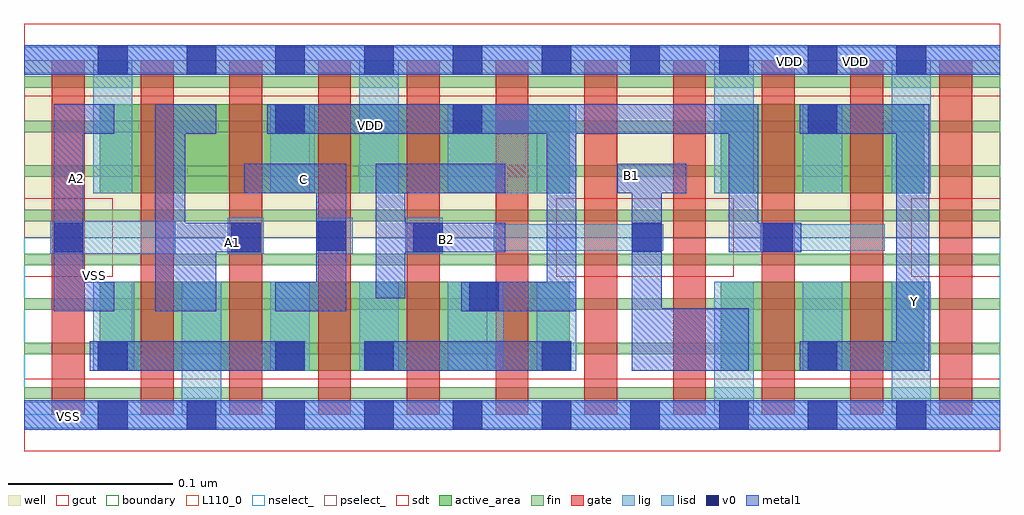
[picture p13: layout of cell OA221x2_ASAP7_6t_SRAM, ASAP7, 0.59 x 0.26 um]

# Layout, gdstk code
import gdstk
lib = gdstk.Library(unit=1e-6, precision=2.5e-10)
def R(c, l, rs):  # rectangles x0, y0, x1, y1
    for r in rs: c.add(gdstk.rectangle(r[:2], r[2:], *l))
def A(c, l, x, y, w, h, nx, ny, dx, dy):  # array of equal rectangles
    R(c, l, [(x+i*dx, y+j*dy, x+i*dx+w, y+j*dy+h) for i in range(nx) for j in range(ny)])
def P(c, l, *ps):  # polygons
    for p in ps: c.add(gdstk.Polygon(p, *l))
well = (1, 0)
fin = (2, 0)
gate = (7, 0)
gcut = (10, 0)
active_area = (11, 0)
nselect_ = (12, 0)
pselect_ = (13, 0)
lig = (16, 0)
lisd = (17, 0)
v0 = (18, 0)
metal1 = (19, 0)
sdt = (88, 0)
boundary = (100, 0)
L110_0 = (110, 0)

oa221x2_asap7_6t_sram = lib.new_cell('OA221x2_ASAP7_6t_SRAM')
R(oa221x2_asap7_6t_sram, well, [(0,0.108,0.594,0.216)])
A(oa221x2_asap7_6t_sram, fin, 0, 0.01, 0.594, 0.007, 1, 8, 0, 0.027)
A(oa221x2_asap7_6t_sram, gate, 0.017, 0, 0.02, 0.216, 11, 1, 0.054, 0)
R(oa221x2_asap7_6t_sram, gcut, [(0,-0.022,0.594,0.022), (0,0.084,0.054,0.132), (0.324,0.084,0.432,0.132), (0.54,0.084,0.594,0.132), (0,0.194,0.594,0.238)])
R(oa221x2_asap7_6t_sram, active_area, [(0.046,0.027,0.332,0.081), (0.424,0.027,0.548,0.081), (0.046,0.135,0.332,0.189), (0.424,0.135,0.548,0.189)])
R(oa221x2_asap7_6t_sram, nselect_, [(0,0,0.594,0.108)])
R(oa221x2_asap7_6t_sram, pselect_, [(0,0.108,0.594,0.216)])
R(oa221x2_asap7_6t_sram, lig, [(0,-0.008,0.594,0.008), (0.016,0.098,0.092,0.118), (0.124,0.098,0.146,0.12), (0.178,0.098,0.2,0.12), (0.232,0.098,0.255,0.12), (0.286,0.1,0.389,0.116), (0.448,0.1,0.524,0.116), (0,0.208,0.594,0.224)])
R(oa221x2_asap7_6t_sram, lisd, [(0.096,0,0.12,0.081), (0.42,0,0.444,0.081), (0.528,0,0.552,0.081), (0.042,0.027,0.067,0.081), (0.15,0.027,0.174,0.081), (0.204,0.027,0.228,0.081), (0.258,0.027,0.292,0.081), (0.312,0.027,0.336,0.081), (0.474,0.027,0.498,0.081), (0.042,0.135,0.066,0.216), (0.15,0.135,0.177,0.189), (0.204,0.135,0.228,0.216), (0.258,0.135,0.336,0.189), (0.42,0.135,0.444,0.216), (0.474,0.135,0.498,0.189), (0.528,0.135,0.552,0.216)])
A(oa221x2_asap7_6t_sram, v0, 0.045, -0.009, 0.018, 0.018, 10, 2, 0.054, 0.216)
R(oa221x2_asap7_6t_sram, v0, [(0.045,0.027,0.063,0.045), (0.153,0.027,0.171,0.045), (0.207,0.027,0.225,0.045), (0.315,0.027,0.333,0.045), (0.477,0.027,0.495,0.045), (0.271,0.063,0.289,0.081), (0.018,0.099,0.036,0.117), (0.126,0.099,0.144,0.117), (0.237,0.099,0.255,0.117), (0.37,0.099,0.388,0.117), (0.45,0.099,0.468,0.117), (0.178,0.1,0.196,0.118), (0.153,0.171,0.171,0.189), (0.261,0.171,0.279,0.189), (0.477,0.171,0.495,0.189)])
R(oa221x2_asap7_6t_sram, metal1, [(0,-0.009,0.594,0.009), (0.04,0.027,0.171,0.045), (0.207,0.027,0.333,0.045), (0,0.207,0.594,0.225)])
P(oa221x2_asap7_6t_sram, metal1, [(0.551,0.189),(0.472,0.189),(0.472,0.171),(0.531,0.171),(0.531,0.045),(0.472,0.045),(0.472,0.027),(0.551,0.027)],
  [(0.473,0.117),(0.447,0.117),(0.447,0.189),(0.148,0.189),(0.148,0.171),(0.318,0.171),(0.318,0.081),(0.266,0.081),(0.266,0.063),(0.336,0.063),(0.336,0.171),(0.429,0.171),(0.429,0.099),(0.473,0.099)],
  [(0.441,0.065),(0.388,0.065),(0.388,0.135),(0.403,0.135),(0.403,0.153),(0.361,0.153),(0.361,0.135),(0.37,0.135),(0.37,0.027),(0.441,0.027)],
  [(0.293,0.117),(0.232,0.117),(0.232,0.135),(0.293,0.135),(0.293,0.153),(0.214,0.153),(0.214,0.071),(0.232,0.071),(0.232,0.099),(0.293,0.099)],
  [(0.196,0.153),(0.134,0.153),(0.134,0.135),(0.178,0.135),(0.178,0.081),(0.153,0.081),(0.153,0.063),(0.196,0.063)],
  [(0.144,0.117),(0.098,0.117),(0.098,0.171),(0.117,0.171),(0.117,0.189),(0.08,0.189),(0.08,0.063),(0.117,0.063),(0.117,0.099),(0.144,0.099)],
  [(0.055,0.081),(0.036,0.081),(0.036,0.171),(0.055,0.171),(0.055,0.189),(0.018,0.189),(0.018,0.063),(0.055,0.063)])
A(oa221x2_asap7_6t_sram, sdt, 0.042, 0.027, 0.024, 0.054, 6, 1, 0.054, 0)
A(oa221x2_asap7_6t_sram, sdt, 0.204, 0.135, 0.024, 0.054, 3, 1, 0.108, 0)
R(oa221x2_asap7_6t_sram, sdt, [(0.42,0.027,0.444,0.081), (0.474,0.027,0.498,0.081), (0.474,0.027,0.498,0.081), (0.528,0.027,0.552,0.081), (0.042,0.135,0.066,0.189), (0.15,0.135,0.174,0.189), (0.474,0.135,0.498,0.189), (0.474,0.135,0.498,0.189), (0.528,0.135,0.552,0.189)])
R(oa221x2_asap7_6t_sram, boundary, [(0,0,0.594,0.216)])
R(oa221x2_asap7_6t_sram, L110_0, [(0,0,0.594,0.216)])
oa221x2_asap7_6t_sram.add(gdstk.Label('VDD', (0.211,0.176), layer=1, texttype=251))
oa221x2_asap7_6t_sram.add(gdstk.Label('VSS', (0.043,0.085), layer=3, texttype=251))
oa221x2_asap7_6t_sram.add(gdstk.Label('A1', (0.127,0.105), layer=19, texttype=251))
oa221x2_asap7_6t_sram.add(gdstk.Label('B2', (0.257,0.107), layer=19, texttype=251))
oa221x2_asap7_6t_sram.add(gdstk.Label('B1', (0.37,0.146), layer=19, texttype=251))
oa221x2_asap7_6t_sram.add(gdstk.Label('C', (0.17,0.143), layer=19, texttype=251))
oa221x2_asap7_6t_sram.add(gdstk.Label('A2', (0.032,0.144), layer=19, texttype=251))
oa221x2_asap7_6t_sram.add(gdstk.Label('VDD', (0.466,0.215), layer=19, texttype=251))
oa221x2_asap7_6t_sram.add(gdstk.Label('Y', (0.542,0.069), layer=19, texttype=251))
oa221x2_asap7_6t_sram.add(gdstk.Label('VSS', (0.027,-0.001), layer=19, texttype=251))
oa221x2_asap7_6t_sram.add(gdstk.Label('VDD', (0.506,0.215), layer=19, texttype=251))

lib.write_gds('OA221x2_ASAP7_6t_SRAM.gds')
